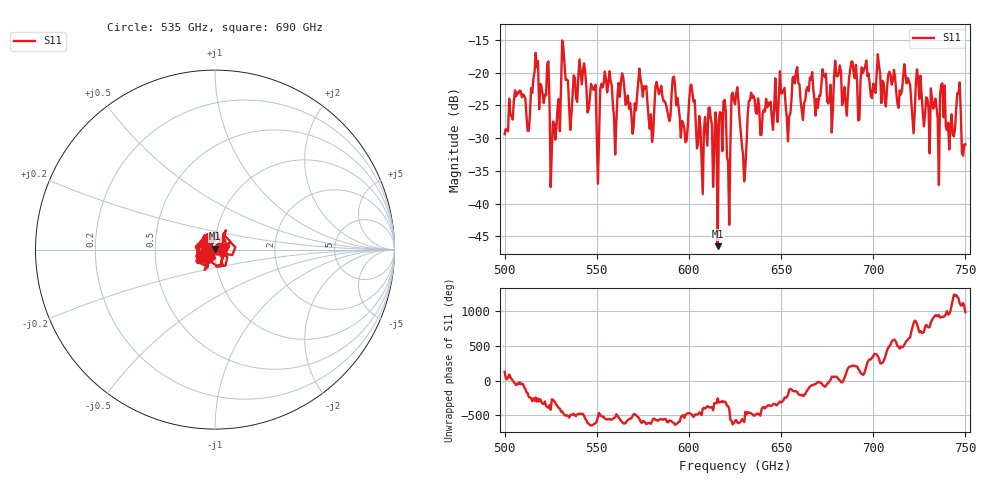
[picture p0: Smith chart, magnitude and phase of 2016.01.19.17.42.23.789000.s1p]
!Created with skrf (http://scikit-rf.org).
# GHz S RI R 50.0
!freq ReS11 ImS11
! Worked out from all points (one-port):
!   401 points, 500 GHz to 750 GHz, reference 50 ohm
!   lowest |S11| = -46.5 dB at 615.6 GHz (marker M1), VSWR 1.01, Z = 49.9 + j0.451 ohm
!   |S11| at or under -10 dB: start of sweep to end of sweep
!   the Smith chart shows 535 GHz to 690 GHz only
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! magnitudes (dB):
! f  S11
! 500 GHz  -29.4
! 513.1 GHz  -28.9
! 516.9 GHz  -16.9
! 523.1 GHz  -18.6
! 526.2 GHz  -27.5
! 531.2 GHz  -15.0
! 548.1 GHz  -22.6
! 550 GHz  -29.1
! 553.8 GHz  -21.6
! 560 GHz  -32.5
! 562.5 GHz  -23.7
! 570 GHz  -28.4
! 574.4 GHz  -22.0
! 579.4 GHz  -26.4
! 583.1 GHz  -22.4
! 593.8 GHz  -23.8
! 615.6 GHz  -46.5
! 618.8 GHz  -24.4
! 621.2 GHz  -33.6
! 625 GHz  -24.8
! 630 GHz  -36.6
! 633.8 GHz  -23.0
! 656.2 GHz  -20.7
! 687.5 GHz  -19.6
! 718.8 GHz  -20.8
! 740.6 GHz  -27.6
! 746.2 GHz  -23.2
! 750 GHz  -30.9
